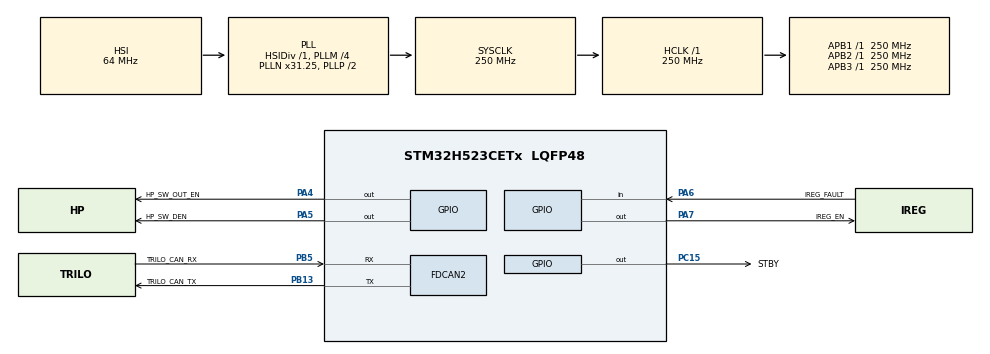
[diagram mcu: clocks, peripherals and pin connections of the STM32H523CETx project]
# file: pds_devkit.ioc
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BOOTPATH.BootPathName=LEGACY
BOOTPATH.UserSelectedBootPath=LEGACY
CORTEX_M33_NS.Number-Cortex_Memory_Protection_Unit_Region0_OTP_RO_AREAS_Settings=MPU_REGION_NUMBER0
CORTEX_M33_NS.default_mode_Activation=1
CORTEX_M33_NS.userName=CORTEX_M33
FDCAN2.AutoRetransmission=ENABLE
FDCAN2.CalculateBaudRateNominal=250000
FDCAN2.CalculateTimeBitNominal=4000
FDCAN2.CalculateTimeQuantumNominal=25.0
FDCAN2.DataSyncJumpWidth=5
FDCAN2.DataTimeSeg1=29
FDCAN2.DataTimeSeg2=10
FDCAN2.ExtFiltersNbr=4
FDCAN2.FrameFormat=FDCAN_FRAME_FD_BRS
FDCAN2.NominalPrescaler=1
FDCAN2.NominalSyncJumpWidth=10
FDCAN2.NominalTimeSeg1=139
FDCAN2.NominalTimeSeg2=20
FDCAN2.TransmitPause=DISABLE
Mcu.Family=STM32H5
Mcu.Name=STM32H523CETx
Mcu.Package=LQFP48
NVIC.FDCAN2_IT0_IRQn=true\:0\:0\:false\:false\:true\:true\:true\:true
NVIC.PriorityGroup=NVIC_PRIORITYGROUP_4
PA13(JTMS/SWDIO).Mode=Trace_Asynchronous_SW
PA13(JTMS/SWDIO).Signal=DEBUG_JTMS-SWDIO
PA14(JTCK/SWCLK).Mode=Trace_Asynchronous_SW
PA14(JTCK/SWCLK).Signal=DEBUG_JTCK-SWCLK
PA4.GPIO_Label=HP_SW_OUT_EN
PA4.GPIO_ModeDefaultOutputPP=GPIO_MODE_OUTPUT_PP
PA4.GPIO_PuPd=GPIO_PULLUP
PA4.PinState=GPIO_PIN_SET
PA4.Signal=GPIO_Output
PA5.GPIO_Label=HP_SW_DEN
PA5.PinState=GPIO_PIN_SET
PA5.Signal=GPIO_Output
PA6.GPIO_Label=IREG_FAULT
PA6.Signal=GPIO_Input
PA7.GPIO_Label=IREG_EN
PA7.GPIO_ModeDefaultOutputPP=GPIO_MODE_OUTPUT_PP
PA7.GPIO_PuPd=GPIO_NOPULL
PA7.PinState=GPIO_PIN_SET
PA7.Signal=GPIO_Output
PB13.GPIO_Label=TRILO_CAN_TX
PB13.Mode=FDCAN_Activate
PB13.Signal=FDCAN2_TX
PB3(JTDO/TRACESWO).Mode=Trace_Asynchronous_SW
PB3(JTDO/TRACESWO).Signal=DEBUG_JTDO-SWO
PB5.GPIO_Label=TRILO_CAN_RX
PB5.Mode=FDCAN_Activate
PB5.Signal=FDCAN2_RX
PC15-OSC32_OUT(OSC32_OUT).GPIO_Label=STBY
PC15-OSC32_OUT(OSC32_OUT).Signal=GPIO_Output
PH0-OSC_IN(PH0).Mode=HSE-External-Oscillator
PH0-OSC_IN(PH0).Signal=RCC_OSC_IN
PH1-OSC_OUT(PH1).Mode=HSE-External-Oscillator
PH1-OSC_OUT(PH1).Signal=RCC_OSC_OUT
ProjectManager.HeapSize=0x200
ProjectManager.StackSize=0x400
ProjectManager.TargetToolchain=CMake
RCC.ADCFreq_Value=250000000
RCC.AHBFreq_Value=250000000
RCC.APB1Freq_Value=250000000
RCC.APB1TimFreq_Value=250000000
RCC.APB2Freq_Value=250000000
RCC.APB2TimFreq_Value=250000000
RCC.APB3Freq_Value=250000000
RCC.CSI_VALUE=4000000
RCC.CortexFreq_Value=250000000
RCC.EPOD_VALUE=64000000
RCC.FDCANClockSelection=RCC_FDCANCLKSOURCE_PLL2Q
RCC.HCLKFreq_Value=250000000
RCC.HSE_VALUE=24000000
RCC.HSI48_VALUE=48000000
RCC.HSIDiv=RCC_HSI_DIV1
RCC.HSI_VALUE=64000000
RCC.LSE_VALUE=32768
RCC.LSIRC_VALUE=32000
RCC.PLL2FRACN=0
RCC.PLL2M=2
RCC.PLL2N=20
RCC.PLL2Q=6
RCC.PLL2Source=RCC_PLL2_SOURCE_HSE
RCC.PLL3FRACN=0
RCC.PLL3Source=RCC_PLL3_SOURCE_HSE
RCC.PLLFRACN=2048
RCC.PLLM=4
RCC.PLLN=31
RCC.PLLSourceVirtual=RCC_PLL1_SOURCE_HSI
RCC.SYSCLKFreq_VALUE=250000000
RCC.SYSCLKSource=RCC_SYSCLKSOURCE_PLLCLK
RCC.USBFreq_Value=48000000
RCC.VCOOutputFreq_Value=500000000
VP_BOOTPATH_VS_BOOTPATH.Mode=BP_Activate
VP_CORTEX_M33_NS_VS_Hclk.Mode=Hclk_Mode
VP_ICACHE_VS_ICACHE.Mode=DirectMappedCache
VP_MEMORYMAP_VS_MEMORYMAP.Mode=CurAppReg
VP_PWR_VS_LPOM.Mode=PowerOptimisation
VP_PWR_VS_SECSignals.Mode=Security/Privilege
board=custom

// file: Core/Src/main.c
/* USER CODE BEGIN Header */
/**
  ******************************************************************************
  * @file           : main.c
  * @brief          : Main program body
  ******************************************************************************
  * @attention
  *
  * Copyright (c) 2026 STMicroelectronics.
  * All rights reserved.
  *
  * This software is licensed under terms that can be found in the LICENSE file
  * in the root directory of this software component.
  * If no LICENSE file comes with this software, it is provided AS-IS.
  *
  ******************************************************************************
  */
/* USER CODE END Header */
#include "main.h"
#include "fdcan.h"
#include "icache.h"
#include "gpio.h"

/* USER CODE BEGIN Includes */
#include "protocol.h"
/* USER CODE END Includes */

void SystemClock_Config(void);
static void MPU_Config(void);

int main(void)
{

  /* MCU Configuration--------------------------------------------------------*/

  /* MPU Configuration--------------------------------------------------------*/
  MPU_Config();

  /* Reset of all peripherals, Initializes the Flash interface and the Systick. */
  HAL_Init();

  /* Configure the system clock */
  SystemClock_Config();

  /* Initialize all configured peripherals */
  MX_GPIO_Init();
  MX_FDCAN2_Init();
  MX_ICACHE_Init();
  /* USER CODE BEGIN 2 */
  CanCommsInit();
  HAL_Delay(100); // Short delay to ensure CAN peripheral is ready before sending

  CanID ping_id = {
      .priority = 0,
      .board_id = BOARD_ID,
      .command_id = PING,
      .request_id = 0,
      .error_flag = false
  };
  CanFrame ping_frame = createCanFrame(ping_id, NULL, 0);
  sendCanFrame(&ping_frame);
  sendCanFrame(&ping_frame);

  /* USER CODE END 2 */

  /* Infinite loop */
  while (1)
  {

    /* USER CODE BEGIN 3 */

    if (receivedCanMessage) {
        handleCanMessage();
    }

  }
  /* USER CODE END 3 */
}

void SystemClock_Config(void)
{
  RCC_OscInitTypeDef RCC_OscInitStruct = {0};
  RCC_ClkInitTypeDef RCC_ClkInitStruct = {0};

  /** Configure the main internal regulator output voltage
  */
  __HAL_PWR_VOLTAGESCALING_CONFIG(PWR_REGULATOR_VOLTAGE_SCALE0);

  while(!__HAL_PWR_GET_FLAG(PWR_FLAG_VOSRDY)) {}

  /** Initializes the RCC Oscillators according to the specified parameters
  * in the RCC_OscInitTypeDef structure.
  */
  RCC_OscInitStruct.OscillatorType = RCC_OSCILLATORTYPE_HSI|RCC_OSCILLATORTYPE_HSE;
  RCC_OscInitStruct.HSEState = RCC_HSE_ON;
  RCC_OscInitStruct.HSIState = RCC_HSI_ON;
  RCC_OscInitStruct.HSIDiv = RCC_HSI_DIV1;
  RCC_OscInitStruct.HSICalibrationValue = RCC_HSICALIBRATION_DEFAULT;
  RCC_OscInitStruct.PLL.PLLState = RCC_PLL_ON;
  RCC_OscInitStruct.PLL.PLLSource = RCC_PLL1_SOURCE_HSI;
  RCC_OscInitStruct.PLL.PLLM = 4;
  RCC_OscInitStruct.PLL.PLLN = 31;
  RCC_OscInitStruct.PLL.PLLP = 2;
  RCC_OscInitStruct.PLL.PLLQ = 2;
  RCC_OscInitStruct.PLL.PLLR = 2;
  RCC_OscInitStruct.PLL.PLLRGE = RCC_PLL1_VCIRANGE_3;
  RCC_OscInitStruct.PLL.PLLVCOSEL = RCC_PLL1_VCORANGE_WIDE;
  RCC_OscInitStruct.PLL.PLLFRACN = 2048;
  if (HAL_RCC_OscConfig(&RCC_OscInitStruct) != HAL_OK)
  {
    Error_Handler();
  }

  /** Initializes the CPU, AHB and APB buses clocks
  */
  RCC_ClkInitStruct.ClockType = RCC_CLOCKTYPE_HCLK|RCC_CLOCKTYPE_SYSCLK
                              |RCC_CLOCKTYPE_PCLK1|RCC_CLOCKTYPE_PCLK2
                              |RCC_CLOCKTYPE_PCLK3;
  RCC_ClkInitStruct.SYSCLKSource = RCC_SYSCLKSOURCE_PLLCLK;
  RCC_ClkInitStruct.AHBCLKDivider = RCC_SYSCLK_DIV1;
  RCC_ClkInitStruct.APB1CLKDivider = RCC_HCLK_DIV1;
  RCC_ClkInitStruct.APB2CLKDivider = RCC_HCLK_DIV1;
  RCC_ClkInitStruct.APB3CLKDivider = RCC_HCLK_DIV1;

  if (HAL_RCC_ClockConfig(&RCC_ClkInitStruct, FLASH_LATENCY_5) != HAL_OK)
  {
    Error_Handler();
  }

  /** Configure the programming delay
  */
  __HAL_FLASH_SET_PROGRAM_DELAY(FLASH_PROGRAMMING_DELAY_2);
}

 /* MPU Configuration */

void MPU_Config(void)
{
  MPU_Region_InitTypeDef MPU_InitStruct = {0};
  MPU_Attributes_InitTypeDef MPU_AttributesInit = {0};

  /* Disables the MPU */
  HAL_MPU_Disable();

  /** Initializes and configures the Region 0 and the memory to be protected
  */
  MPU_InitStruct.Enable = MPU_REGION_ENABLE;
  MPU_InitStruct.Number = MPU_REGION_NUMBER0;
  MPU_InitStruct.BaseAddress = 0x08FFF000;
  MPU_InitStruct.LimitAddress = 0x08FFFFFF;
  MPU_InitStruct.AttributesIndex = MPU_ATTRIBUTES_NUMBER0;
  MPU_InitStruct.AccessPermission = MPU_REGION_ALL_RO;
  MPU_InitStruct.DisableExec = MPU_INSTRUCTION_ACCESS_DISABLE;
  MPU_InitStruct.IsShareable = MPU_ACCESS_NOT_SHAREABLE;

  HAL_MPU_ConfigRegion(&MPU_InitStruct);

  /** Initializes and configures the Attribute 0 and the memory to be protected
  */
  MPU_AttributesInit.Number = MPU_ATTRIBUTES_NUMBER0;
  MPU_AttributesInit.Attributes = INNER_OUTER(MPU_NOT_CACHEABLE);

  HAL_MPU_ConfigMemoryAttributes(&MPU_AttributesInit);
  /* Enables the MPU */
  HAL_MPU_Enable(MPU_PRIVILEGED_DEFAULT);

}

void Error_Handler(void)
{
  __disable_irq();
  while (1)
  {
  }
}
